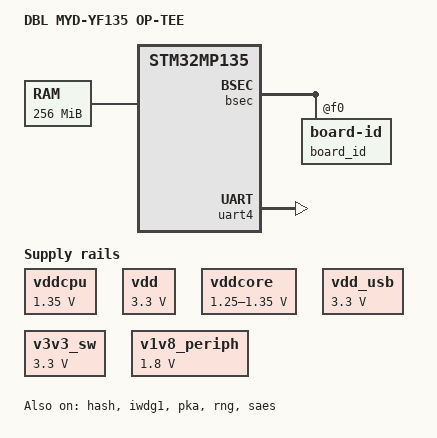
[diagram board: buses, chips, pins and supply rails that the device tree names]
// SPDX-License-Identifier: (GPL-2.0+ OR BSD-3-Clause)
/*
 * OP-TEE DTS for DBL MYD-YF135-256N-256D
 *
 * Embedded in OP-TEE at build time via CFG_EMBED_DTB_SOURCE_FILE.
 *
 * Modeled on stm32mp135f-dk.dts from upstream OP-TEE OS 4.3.0.
 * ST-fork-specific constructs (DECPROT/&etzpc, &scmi_regu, &tzc400,
 * STM32_PM_* suspend modes) are omitted. Upstream OP-TEE configures
 * ETZPC and TZC400 statically in C for the STM32MP13 platform.
 *
 * SOM provides all power regulation internally, set fixed always-on regulators.
 */

/dts-v1/;

#include <dt-bindings/clock/stm32mp13-clksrc.h>
#include <dt-bindings/regulator/st,stm32mp13-regulator.h>

#include "stm32mp135.dtsi"
#include "stm32mp13xf.dtsi"
#include "stm32mp13-pinctrl.dtsi"

/ {
	model = "DBL MYD-YF135 OP-TEE";
	compatible = "myir,stm32mp135d-myd-yf135", "st,stm32mp135";

	aliases {
		serial0 = &uart4;
	};

	chosen {
		stdout-path = "serial0:115200n8";
	};

	memory@c0000000 {
		device_type = "memory";
		reg = <0xc0000000 0x10000000>;
	};

	reserved-memory {
		#address-cells = <1>;
		#size-cells = <1>;
		ranges;

		/* Must match Linux DTS and CFG_TZDRAM_START/CFG_SHMEM_START */
		optee_framebuffer: optee-framebuffer@cd000000 {
			reg = <0xcd000000 0x1000000>;
			no-map;
		};
	};

	/* SOM provides all power regulation internally, set fixed always-on.
	 * Note: sdmmc1_io / sdmmc2_io are already defined in stm32mp131.dtsi,
	 * only provide their supply via the &sdmmc1_io reference below. */

	vddcpu: vddcpu {
		compatible = "regulator-fixed";
		regulator-name = "vddcpu";
		regulator-min-microvolt = <1350000>;
		regulator-max-microvolt = <1350000>;
		regulator-always-on;
	};

	vdd: vdd {
		compatible = "regulator-fixed";
		regulator-name = "vdd";
		regulator-min-microvolt = <3300000>;
		regulator-max-microvolt = <3300000>;
		regulator-always-on;
	};

	vddcore: vddcore {
		compatible = "regulator-fixed";
		regulator-name = "vddcore";
		regulator-min-microvolt = <1250000>;
		regulator-max-microvolt = <1350000>;
		regulator-always-on;
	};

	vdd_usb: vdd_usb {
		compatible = "regulator-fixed";
		regulator-name = "vdd_usb";
		regulator-min-microvolt = <3300000>;
		regulator-max-microvolt = <3300000>;
		regulator-always-on;
	};

	v3v3_sw: v3v3_sw {
		compatible = "regulator-fixed";
		regulator-name = "v3v3_sw";
		regulator-min-microvolt = <3300000>;
		regulator-max-microvolt = <3300000>;
		regulator-always-on;
	};

	v1v8_periph: v1v8_periph {
		compatible = "regulator-fixed";
		regulator-name = "v1v8_periph";
		regulator-min-microvolt = <1800000>;
		regulator-max-microvolt = <1800000>;
		regulator-always-on;
	};
};

&bsec {
	board_id: board-id@f0 {
		reg = <0xf0 0x4>;
		st,non-secure-otp;
	};
};

&cpu0 {
	cpu-supply = <&vddcpu>;
};

&hash {
	status = "okay";
};

&iwdg1 {
	timeout-sec = <32>;
	status = "okay";
};

&pka {
	status = "okay";
};

&pwr_regulators {
	vdd-supply = <&vdd>;
	vdd_3v3_usbfs-supply = <&vdd_usb>;
};

&rng {
	status = "okay";
	clock-error-detect;
};

&saes {
	status = "okay";
};

&sdmmc1_io {
	vddsd1-supply = <&vdd>;
};

&sdmmc2_io {
	vddsd2-supply = <&vdd>;
};

/*
 * Clock configuration must match what TF-A configured.
 * Without this node priv->nb_div = 0 and stm32_div_set_value() panics
 * immediately on the first divider access during OP-TEE clock init.
 *
 * PLL1: VCO=2000 MHz -> P=1000 MHz (CPU @ 1 GHz)
 * PLL2: VCO=1066 MHz -> P=533 MHz (AXI), R=533 MHz (DDR)
 * PLL3: VCO=417 MHz  -> P=208 MHz, Q=24 MHz, R=11 MHz (MLAHB/PER)
 * PLL4: VCO=600 MHz  -> P=100 MHz, Q=10 MHz, R=50 MHz (QSPI/SDMMC/RNG)
 */
&rcc {
	compatible = "st,stm32mp13-rcc", "syscon";

	st,clksrc = <
		CLK_MPU_PLL1P
		CLK_AXI_PLL2P
		CLK_MLAHBS_PLL3
		CLK_RTC_LSE
		CLK_MCO1_DISABLED
		CLK_MCO2_DISABLED
		CLK_CKPER_HSE
		CLK_SDMMC1_PLL4P
		CLK_STGEN_HSE
		CLK_USBPHY_HSE
		CLK_USBO_USBPHY
		CLK_UART4_HSI
		CLK_SAES_AXI
		CLK_RNG1_PLL4R
	>;

	st,clkdiv = <
		DIV(DIV_MPU, 1)
		DIV(DIV_AXI, 0)
		DIV(DIV_MLAHB, 0)
		DIV(DIV_APB1, 1)
		DIV(DIV_APB2, 1)
		DIV(DIV_APB3, 1)
		DIV(DIV_APB4, 1)
		DIV(DIV_APB5, 2)
		DIV(DIV_APB6, 1)
		DIV(DIV_RTC, 0)
		DIV(DIV_MCO1, 0)
		DIV(DIV_MCO2, 0)
	>;

	st,pll_vco {
		pll1_vco_2000Mhz: pll1-vco-2000Mhz {
			src = <CLK_PLL12_HSE>;
			divmn = <1 82>;
			frac = <0xAAA>;
		};

		pll1_vco_1300Mhz: pll1-vco-1300Mhz {
			src = <CLK_PLL12_HSE>;
			divmn = <2 80>;
			frac = <0x800>;
		};

		pll2_vco_1066Mhz: pll2-vco-1066Mhz {
			src = <CLK_PLL12_HSE>;
			divmn = <2 65>;
			frac = <0x1400>;
		};

		pll3_vco_417Mhz: pll3-vco-417Mhz {
			src = <CLK_PLL3_HSE>;
			divmn = <1 33>;
			frac = <0x1a04>;
		};

		pll4_vco_600Mhz: pll4-vco-600Mhz {
			src = <CLK_PLL4_HSE>;
			divmn = <1 49>;
		};
	};

	/* PLL1: VCO=2000 MHz -> P=1000 MHz (CPU @ 1 GHz) */
	pll1: st,pll@0 {
		compatible = "st,stm32mp1-pll";
		reg = <0>;
		st,pll = <&pll1_cfg2>;

		pll1_cfg1: pll1_cfg1 {
			st,pll_vco = <&pll1_vco_1300Mhz>;
			st,pll_div_pqr = <0 1 1>;
		};

		pll1_cfg2: pll1_cfg2 {
			st,pll_vco = <&pll1_vco_2000Mhz>;
			st,pll_div_pqr = <0 1 1>;
		};
	};

	/* VCO = 1066 MHz -> P = 533 MHz (AXI), R = 533 MHz (DDR) */
	pll2: st,pll@1 {
		compatible = "st,stm32mp1-pll";
		reg = <1>;
		st,pll = <&pll2_cfg1>;

		pll2_cfg1: pll2_cfg1 {
			st,pll_vco = <&pll2_vco_1066Mhz>;
			st,pll_div_pqr = <1 1 0>;
		};
	};

	/* VCO = 417 MHz -> P = 208 MHz, Q = 24 MHz, R = 11 MHz */
	pll3: st,pll@2 {
		compatible = "st,stm32mp1-pll";
		reg = <2>;
		st,pll = <&pll3_cfg1>;

		pll3_cfg1: pll3_cfg1 {
			st,pll_vco = <&pll3_vco_417Mhz>;
			st,pll_div_pqr = <1 16 36>;
		};
	};

	/* PLL4: VCO=600 MHz -> P=100 MHz, Q=10 MHz, R=50 MHz */
	pll4: st,pll@3 {
		compatible = "st,stm32mp1-pll";
		reg = <3>;
		st,pll = <&pll4_cfg1>;

		pll4_cfg1: pll4_cfg1 {
			st,pll_vco = <&pll4_vco_600Mhz>;
			st,pll_div_pqr = <5 59 11>;
		};
	};

	st,clk_opp {
		/* CPU OPPs: OP-TEE uses these to validate/switch CPU frequency */
		st,ck_mpu {
			cfg_1 {
				hz = <650000000>;
				st,clksrc = <CLK_MPU_PLL1P>;
				st,pll = <&pll1_cfg1>;
			};

			cfg_2 {
				hz = <1000000000>;
				st,clksrc = <CLK_MPU_PLL1P>;
				st,pll = <&pll1_cfg2>;
			};
		};
	};
};

&uart4 {
	pinctrl-names = "default";
	pinctrl-0 = <&uart4_pins_a>;
	status = "okay";
};
